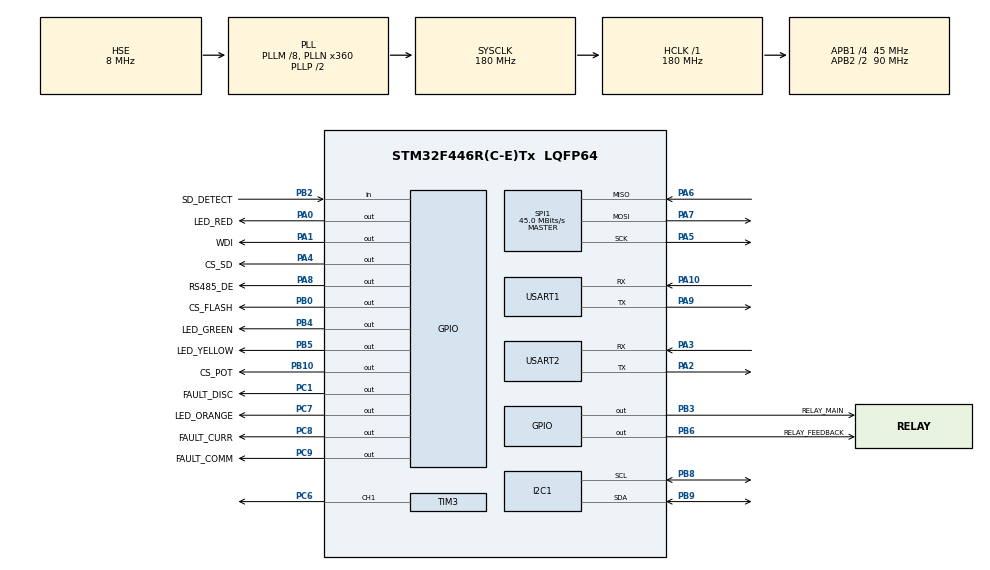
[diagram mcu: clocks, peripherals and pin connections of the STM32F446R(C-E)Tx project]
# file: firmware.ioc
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I2C1.I2C_Mode=I2C_Fast
Mcu.Family=STM32F4
Mcu.Name=STM32F446R(C-E)Tx
Mcu.Package=LQFP64
NVIC.PriorityGroup=NVIC_PRIORITYGROUP_4
NVIC.TIM6_DAC_IRQn=true\:0\:0\:false\:false\:true\:true\:true\:true
NVIC.TIM7_IRQn=true\:0\:0\:false\:false\:true\:true\:true\:true
NVIC.TIM8_TRG_COM_TIM14_IRQn=true\:0\:0\:false\:false\:true\:true\:true\:true
PA0-WKUP.GPIO_Label=LED_RED
PA0-WKUP.Signal=GPIO_Output
PA1.GPIO_Label=WDI
PA1.Signal=GPIO_Output
PA10.Mode=Asynchronous
PA10.Signal=USART1_RX
PA13.Mode=Serial_Wire
PA13.Signal=SYS_JTMS-SWDIO
PA14.Mode=Serial_Wire
PA14.Signal=SYS_JTCK-SWCLK
PA2.Mode=Asynchronous
PA2.Signal=USART2_TX
PA3.Mode=Asynchronous
PA3.Signal=USART2_RX
PA4.GPIO_Label=CS_SD
PA4.Signal=GPIO_Output
PA5.Mode=Full_Duplex_Master
PA5.Signal=SPI1_SCK
PA6.Mode=Full_Duplex_Master
PA6.Signal=SPI1_MISO
PA7.Mode=Full_Duplex_Master
PA7.Signal=SPI1_MOSI
PA8.GPIO_Label=RS485_DE
PA8.Signal=GPIO_Output
PA9.Mode=Asynchronous
PA9.Signal=USART1_TX
PB0.GPIO_Label=CS_FLASH
PB0.Signal=GPIO_Output
PB10.GPIO_Label=CS_POT
PB10.Signal=GPIO_Output
PB2.GPIO_Label=SD_DETECT
PB2.Signal=GPIO_Input
PB3.GPIO_Label=RELAY_MAIN
PB3.Signal=GPIO_Output
PB4.GPIO_Label=LED_GREEN
PB4.Signal=GPIO_Output
PB5.GPIO_Label=LED_YELLOW
PB5.Signal=GPIO_Output
PB6.GPIO_Label=RELAY_FEEDBACK
PB6.Signal=GPIO_Output
PB8.Mode=I2C
PB8.Signal=I2C1_SCL
PB9.Mode=I2C
PB9.Signal=I2C1_SDA
PC1.GPIO_Label=FAULT_DISC
PC1.Signal=GPIO_Output
PC6.Signal=S_TIM3_CH1
PC7.GPIO_Label=LED_ORANGE
PC7.Signal=GPIO_Output
PC8.GPIO_Label=FAULT_CURR
PC8.Signal=GPIO_Output
PC9.GPIO_Label=FAULT_COMM
PC9.Signal=GPIO_Output
PH0-OSC_IN.Mode=HSE-External-Oscillator
PH0-OSC_IN.Signal=RCC_OSC_IN
PH1-OSC_OUT.Mode=HSE-External-Oscillator
PH1-OSC_OUT.Signal=RCC_OSC_OUT
ProjectManager.HeapSize=0x200
ProjectManager.StackSize=0x400
ProjectManager.TargetToolchain=Makefile
RCC.AHBFreq_Value=180000000
RCC.APB1CLKDivider=RCC_HCLK_DIV4
RCC.APB1Freq_Value=45000000
RCC.APB1TimFreq_Value=90000000
RCC.APB2CLKDivider=RCC_HCLK_DIV2
RCC.APB2Freq_Value=90000000
RCC.APB2TimFreq_Value=180000000
RCC.CortexFreq_Value=180000000
RCC.HCLKFreq_Value=180000000
RCC.HSE_VALUE=8000000
RCC.PLLM=8
RCC.PLLN=360
RCC.PLLSourceVirtual=RCC_PLLSOURCE_HSE
RCC.SYSCLKFreq_VALUE=180000000
RCC.SYSCLKSource=RCC_SYSCLKSOURCE_PLLCLK
RCC.USBFreq_Value=180000000
RCC.VCOOutputFreq_Value=360000000
SH.S_TIM3_CH1.0=TIM3_CH1,PWM Generation1 CH1
SPI1.CalculateBaudRate=45.0 MBits/s
SPI1.Direction=SPI_DIRECTION_2LINES
SPI1.Mode=SPI_MODE_MASTER
SPI1.VirtualType=VM_MASTER
TIM14.AutoReloadPreload=TIM_AUTORELOAD_PRELOAD_ENABLE
TIM14.Period=499
TIM14.Prescaler=17999
TIM3.Channel-PWM\ Generation1\ CH1=TIM_CHANNEL_1
TIM3.Period=999
TIM3.Prescaler=179
TIM6.AutoReloadPreload=TIM_AUTORELOAD_PRELOAD_ENABLE
TIM6.Prescaler=17999
TIM7.AutoReloadPreload=TIM_AUTORELOAD_PRELOAD_ENABLE
TIM7.Period=9999
TIM7.Prescaler=17999
USART1.VirtualMode=VM_ASYNC
USART2.VirtualMode=VM_ASYNC
VP_TIM14_VS_ClockSourceINT.Mode=Enable_Timer
VP_TIM6_VS_ClockSourceINT.Mode=Enable_Timer
VP_TIM7_VS_ClockSourceINT.Mode=Enable_Timer
board=custom

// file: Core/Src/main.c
/* USER CODE BEGIN Header */
/**
  ******************************************************************************
  * @file           : main.c
  * @brief          : Main program body
  ******************************************************************************
  * @attention
  *
  * Copyright (c) 2026 STMicroelectronics.
  * All rights reserved.
  *
  * This software is licensed under terms that can be found in the LICENSE file
  * in the root directory of this software component.
  * If no LICENSE file comes with this software, it is provided AS-IS.
  *
  ******************************************************************************
  */
/* USER CODE END Header */
#include "main.h"
#include "i2c.h"
#include "spi.h"
#include "tim.h"
#include "usart.h"
#include "gpio.h"/

/* USER CODE BEGIN Includes */
#include "model_inference.h"
#include "state_machine.h"
#include "feature_extraction.h"
#include "health_fusion.h"
#include "model.h"
#include <stdio.h>
#include <math.h>
#include <string.h>

/* USER CODE END Includes */

void SystemClock_Config(void);

/* USER CODE BEGIN 0 */
/* Redirect printf to UART2 (debug output via ST-Link VCP) */
int __io_putchar(int ch) {
    extern UART_HandleTypeDef huart2;
    HAL_UART_Transmit(&huart2, (uint8_t*)&ch, 1, 100);
    return ch;
}

/* Non-blocking blink counter */
static uint32_t blink_counter = 0;

/* Timer callback — called by HAL on timer events */
void HAL_TIM_PeriodElapsedCallback(TIM_HandleTypeDef *htim) {
    if (htim->Instance == TIM6) {
        /* 10 Hz — sampling tick */
        blink_counter++;
    }
    if (htim->Instance == TIM7) {
        /* 1 Hz — inference tick */
    }
    if (htim->Instance == TIM14) {
        /* 20 Hz — watchdog feed */
        HAL_GPIO_TogglePin(GPIOA, GPIO_PIN_1);  // WDI toggle
    }
}

/* USER CODE END 0 */

int main(void)
{

  /* MCU Configuration--------------------------------------------------------*/

  /* Reset of all peripherals, Initializes the Flash interface and the Systick. */
  HAL_Init();

  /* Configure the system clock */
  SystemClock_Config();

  /* Initialize all configured peripherals */
  MX_GPIO_Init();
  MX_SPI1_Init();
  MX_TIM3_Init();
  MX_TIM6_Init();
  MX_TIM7_Init();
  MX_TIM14_Init();
  MX_USART1_UART_Init();
  MX_USART2_UART_Init();
  MX_I2C1_Init();
    /* USER CODE BEGIN 2 */
  printf("\r\n\r\n");
  printf("====================================\r\n");
  printf("  SwasthEdge Boot OK\r\n");
  printf("====================================\r\n");

  /* Print clock configuration */
  printf("SYSCLK: %lu Hz\r\n", HAL_RCC_GetSysClockFreq());
  printf("HCLK:   %lu Hz\r\n", HAL_RCC_GetHCLKFreq());
  printf("PCLK1:  %lu Hz\r\n", HAL_RCC_GetPCLK1Freq());
  printf("PCLK2:  %lu Hz\r\n", HAL_RCC_GetPCLK2Freq());
  printf("\r\n");

  /* Start timers */
  HAL_TIM_Base_Start_IT(&htim6);
  HAL_TIM_Base_Start_IT(&htim7);
  HAL_TIM_Base_Start_IT(&htim14);
  printf("Timers started: TIM6 (10Hz), TIM7 (1Hz), TIM14 (20Hz)\r\n");
  printf("\r\n");

  /* Test feature extraction with synthetic data */
  printf("=== FEATURE EXTRACTION TEST ===\r\n");
  float test_buffer[100];
  for (int i = 0; i < 100; i++) {
      test_buffer[i] = 25.0f + 0.5f * sinf(i * 0.1f) + 0.05f * ((i * 7) % 10 - 5);
  }

  float features[8];
  extract_features(test_buffer, 100, features);

  printf("  Mean:     %.3f\r\n", features[FEAT_MEAN]);
  printf("  Variance: %.5f\r\n", features[FEAT_VARIANCE]);
  printf("  Slope:    %.5f\r\n", features[FEAT_SLOPE]);
  printf("  RMS:      %.3f\r\n", features[FEAT_RMS]);
  printf("  EWMA:     %.3f\r\n", features[FEAT_EWMA]);
  printf("  CUSUM:    %.5f\r\n", features[FEAT_CUSUM]);
  printf("  Rate:     %.5f\r\n", features[FEAT_RATE]);
  printf("  Range:    %.3f\r\n", features[FEAT_RANGE]);
  printf("\r\n");

  /* Test state machine */
  printf("=== STATE MACHINE TEST ===\r\n");
  state_machine_init();
  for (float conf = 100.0f; conf >= 0.0f; conf -= 10.0f) {
      state_machine_update(conf);
      state_machine_update(conf);
      state_machine_update(conf);
      printf("  Confidence %.0f%% -> %s\r\n", conf, state_machine_get_name());
  }
  printf("\r\n");

  /* Test health fusion */
  printf("=== HEALTH FUSION TEST ===\r\n");
  float fused1 = health_fusion(100.0f, 100.0f, 100.0f, 100.0f, 100.0f);
  printf("  All healthy:             %.1f%%\r\n", fused1);
  float fused2 = health_fusion(50.0f, 100.0f, 100.0f, 100.0f, 100.0f);
  printf("  Sensor degraded to 50:   %.1f%%\r\n", fused2);
  float fused3 = health_fusion(50.0f, 50.0f, 100.0f, 100.0f, 100.0f);
  printf("  Sensor + Electrical:     %.1f%%\r\n", fused3);
  float fused4 = health_fusion(25.0f, 25.0f, 50.0f, 50.0f, 25.0f);
  printf("  Multiple failures:       %.1f%%\r\n", fused4);
  printf("\r\n");

  /* Init state machine for main loop */
  state_machine_init();

  /* ========================================== */
  /* NEW: INITIALIZE TINYML ENGINE              */
  /* ========================================== */
  printf("=== TINYML INITIALIZATION ===\r\n");
  setup_tinyml();
  printf("TinyML Engine Ready.\r\n");

  // Quick Sanity Test with Fake Data
  float test_normal = run_inference(25.0f, 1.5f, 12.0f);
  printf("MSE for Normal Data (25C, 1.5A, 12V): %.5f\r\n", test_normal);

  float test_fault = run_inference(25.0f, 3.0f, 12.0f);
  printf("MSE for Fault Data  (25C, 3.0A, 12V): %.5f\r\n", test_fault);

  if (test_fault > ANOMALY_MSE_THRESHOLD) {
      printf(">>> TINYML FAULT DETECTED! <<<\r\n");
  }
  printf("====================================\r\n\r\n");

  printf("Setup complete. Entering main loop...\r\n");
  printf("\r\n");

  /* USER CODE END 2 */

      /* Infinite loop */
  /* USER CODE BEGIN WHILE */
  static int loop_count = 0;
  while (1)
  {
    /* USER CODE END WHILE */

    /* USER CODE BEGIN 3 */

    // 1. Blink LED to show the board is alive
    HAL_GPIO_TogglePin(GPIOA, GPIO_PIN_5);

    // 2. Simulate Sensor Readings
    float sim_temp = 25.0f;
    float sim_current = 1.5f;
    float sim_voltage = 12.0f;

    // 3. AUTOMATIC FAULT INJECTION: Every 3rd loop, spike the current to 3.0A!
    if ((loop_count / 3) % 2 == 1) {
        sim_current = 3.0f;
    }
    loop_count++;

    // 4. Run TinyML Inference
    float mse_score = run_inference(sim_temp, sim_current, sim_voltage);

    // 5. Print the Anomaly Score
    printf("Inputs -> T:%.1f, C:%.1f, V:%.1f | MSE: %.5f | ",
           sim_temp, sim_current, sim_voltage, mse_score);

    // 6. Check against Threshold
    if (mse_score > ANOMALY_MSE_THRESHOLD) {
        printf("STATE: CRITICAL (Fault Detected!)\r\n");
    } else {
        printf("STATE: NORMAL\r\n");
    }

    // 7. Wait 2 seconds before repeating
    HAL_Delay(2000);

  }
  /* USER CODE END 3 */
}

void SystemClock_Config(void)
{
  RCC_OscInitTypeDef RCC_OscInitStruct = {0};
  RCC_ClkInitTypeDef RCC_ClkInitStruct = {0};

  /** Configure the main internal regulator output voltage
  */
  __HAL_RCC_PWR_CLK_ENABLE();
  __HAL_PWR_VOLTAGESCALING_CONFIG(PWR_REGULATOR_VOLTAGE_SCALE1);

  /** Initializes the RCC Oscillators according to the specified parameters
  * in the RCC_OscInitTypeDef structure.
  */
  RCC_OscInitStruct.OscillatorType = RCC_OSCILLATORTYPE_HSE;
  RCC_OscInitStruct.HSEState = RCC_HSE_ON;
  RCC_OscInitStruct.PLL.PLLState = RCC_PLL_ON;
  RCC_OscInitStruct.PLL.PLLSource = RCC_PLLSOURCE_HSE;
  RCC_OscInitStruct.PLL.PLLM = 8;
  RCC_OscInitStruct.PLL.PLLN = 360;
  RCC_OscInitStruct.PLL.PLLP = RCC_PLLP_DIV2;
  RCC_OscInitStruct.PLL.PLLQ = 2;
  RCC_OscInitStruct.PLL.PLLR = 2;
  if (HAL_RCC_OscConfig(&RCC_OscInitStruct) != HAL_OK)
  {
    Error_Handler();
  }

  /** Activate the Over-Drive mode
  */
  if (HAL_PWREx_EnableOverDrive() != HAL_OK)
  {
    Error_Handler();
  }

  /** Initializes the CPU, AHB and APB buses clocks
  */
  RCC_ClkInitStruct.ClockType = RCC_CLOCKTYPE_HCLK|RCC_CLOCKTYPE_SYSCLK
                              |RCC_CLOCKTYPE_PCLK1|RCC_CLOCKTYPE_PCLK2;
  RCC_ClkInitStruct.SYSCLKSource = RCC_SYSCLKSOURCE_PLLCLK;
  RCC_ClkInitStruct.AHBCLKDivider = RCC_SYSCLK_DIV1;
  RCC_ClkInitStruct.APB1CLKDivider = RCC_HCLK_DIV4;
  RCC_ClkInitStruct.APB2CLKDivider = RCC_HCLK_DIV2;

  if (HAL_RCC_ClockConfig(&RCC_ClkInitStruct, FLASH_LATENCY_5) != HAL_OK)
  {
    Error_Handler();
  }
}

void Error_Handler(void)
{
  __disable_irq();
  while (1)
  {
  }
}
